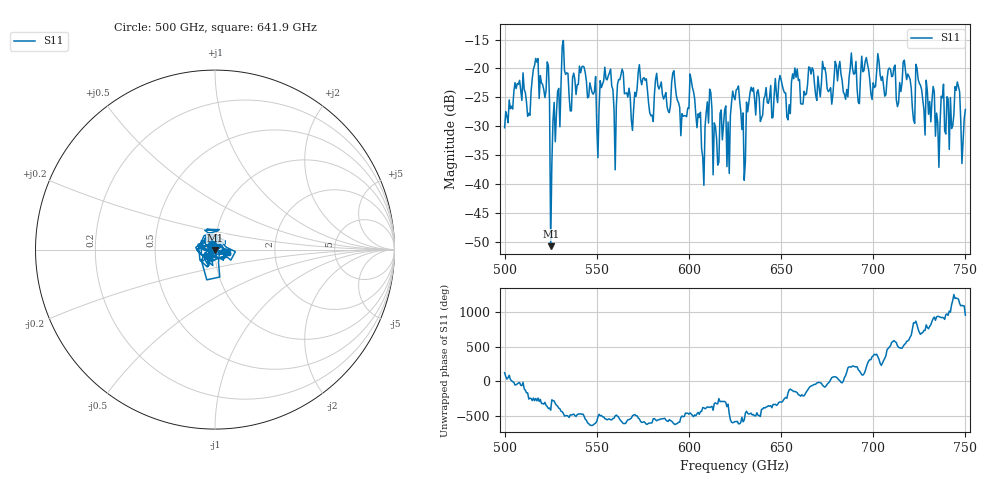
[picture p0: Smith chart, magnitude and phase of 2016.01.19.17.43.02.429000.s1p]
!Created with skrf (http://scikit-rf.org).
# GHz S RI R 50.0
!freq ReS11 ImS11
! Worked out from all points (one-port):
!   401 points, 500 GHz to 750 GHz, reference 50 ohm
!   lowest |S11| = -50.8 dB at 525 GHz (marker M1), VSWR 1.01, Z = 50.2 - j0.245 ohm
!   |S11| at or under -10 dB: start of sweep to end of sweep
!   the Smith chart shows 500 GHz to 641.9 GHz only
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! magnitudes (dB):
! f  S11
! 500 GHz  -30.3
! 506.9 GHz  -22.6
! 513.1 GHz  -27.8
! 516.9 GHz  -18.3
! 523.1 GHz  -18.9
! 525 GHz  -50.8
! 526.2 GHz  -29.0
! 531.2 GHz  -16.2
! 550 GHz  -29.8
! 560 GHz  -37.6
! 562.5 GHz  -22.0
! 569.4 GHz  -30.7
! 573.8 GHz  -21.9
! 579.4 GHz  -28.2
! 593.8 GHz  -25.5
! 601.9 GHz  -23.3
! 607.5 GHz  -35.3
! 611.2 GHz  -23.6
! 614.4 GHz  -30.1
! 625 GHz  -25.4
! 629.4 GHz  -27.7
! 633.8 GHz  -23.3
! 656.2 GHz  -21.0
! 687.5 GHz  -20.0
! 718.8 GHz  -21.0
! 735 GHz  -29.4
! 745.6 GHz  -22.3
! 750 GHz  -27.1
